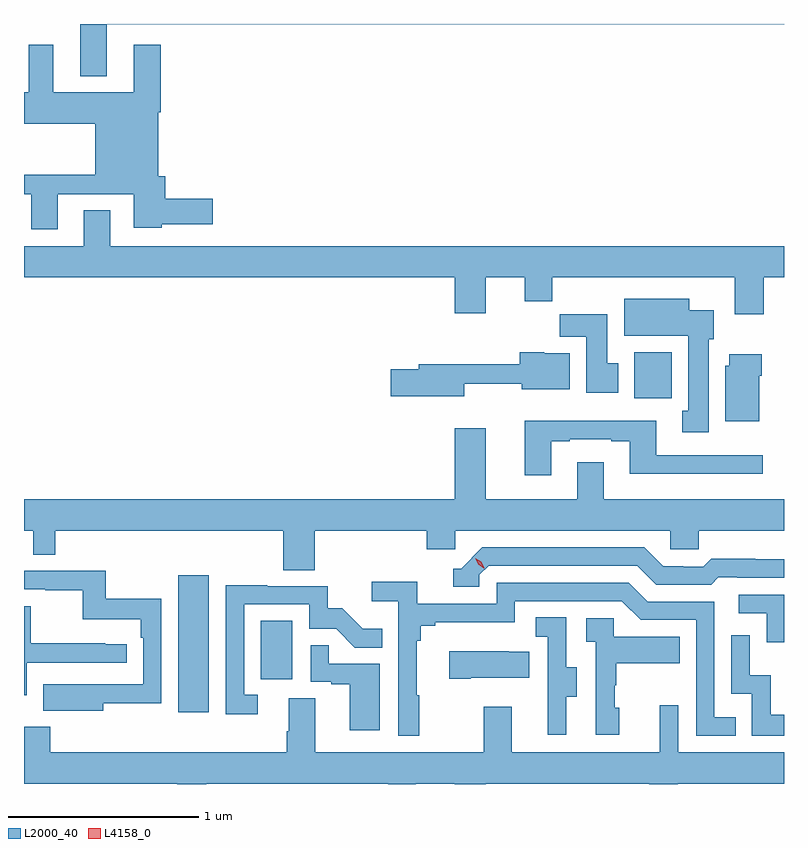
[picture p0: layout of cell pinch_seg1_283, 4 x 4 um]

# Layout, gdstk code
import gdstk
lib = gdstk.Library(unit=1e-6, precision=1e-09)
def R(c, l, rs):  # rectangles x0, y0, x1, y1
    for r in rs: c.add(gdstk.rectangle(r[:2], r[2:], *l))
def P(c, l, *ps):  # polygons
    for p in ps: c.add(gdstk.Polygon(p, *l))
L2000_40 = (2000, 40)
L4158_0 = (4158, 0)

pinch_seg1_283 = lib.new_cell('pinch_seg1_283')
R(pinch_seg1_283, L2000_40, [(906.809,548.112,906.97,548.833), (907.244,548.286,907.408,548.593), (909.209,549.764,909.406,550.006)])
P(pinch_seg1_283, L2000_40, [(906.433,551.732),(909.997,551.732),(909.997,551.734),(905.997,551.734),(905.997,551.732),(906.293,551.732),(906.293,551.459),(906.433,551.459)],
  [(906.175,550.839),(906.575,550.839),(906.575,550.661),(906.723,550.661),(906.723,550.679),(906.991,550.679),(906.991,550.814),(906.74,550.814),(906.74,550.932),(906.703,550.932),(906.703,551.27),(906.716,551.27),(906.716,551.626),(906.575,551.626),(906.575,551.374),(906.151,551.374),(906.151,551.626),(906.023,551.626),(906.023,551.374),(905.997,551.374),(905.997,551.21),(906.371,551.21),(906.371,550.94),(905.997,550.94),(905.997,550.839),(906.035,550.839),(906.035,550.653),(906.175,550.653)],
  [(909.89,550.4),(909.997,550.4),(909.997,550.564),(906.451,550.564),(906.451,550.754),(906.311,550.754),(906.311,550.564),(905.997,550.564),(905.997,550.4),(908.264,550.4),(908.264,550.212),(908.428,550.212),(908.428,550.4),(908.633,550.4),(908.633,550.276),(908.777,550.276),(908.777,550.4),(909.737,550.4),(909.737,550.206),(909.89,550.206)],
  [(909.601,550.074),(909.628,550.074),(909.628,550.228),(909.499,550.228),(909.499,550.288),(909.155,550.288),(909.155,550.094),(909.494,550.094),(909.494,549.698),(909.461,549.698),(909.461,549.585),(909.601,549.585)],
  [(909.124,549.948),(909.067,549.948),(909.067,550.206),(908.818,550.206),(908.818,550.088),(908.957,550.088),(908.957,549.792),(909.124,549.792)],
  [(908.314,549.841),(908.618,549.841),(908.618,549.812),(908.869,549.812),(908.869,550),(908.736,550),(908.736,550.006),(908.606,550.006),(908.606,549.944),(908.075,549.944),(908.075,549.918),(907.926,549.918),(907.926,549.776),(908.314,549.776)],
  [(909.868,549.884),(909.881,549.884),(909.881,549.997),(909.71,549.997),(909.71,549.936),(909.689,549.936),(909.689,549.644),(909.868,549.644)],
  [(908.773,549.537),(908.869,549.537),(908.869,549.549),(909.089,549.549),(909.089,549.537),(909.185,549.537),(909.185,549.368),(909.886,549.368),(909.886,549.465),(909.325,549.465),(909.325,549.646),(908.633,549.646),(908.633,549.36),(908.773,549.36)],
  [(907.526,549.068),(908.117,549.068),(908.117,548.97),(908.268,548.97),(908.268,549.068),(909.399,549.068),(909.399,548.97),(909.549,548.97),(909.549,549.068),(909.997,549.068),(909.997,549.232),(909.049,549.232),(909.049,549.427),(908.909,549.427),(908.909,549.232),(908.428,549.232),(908.428,549.607),(908.264,549.607),(908.264,549.232),(905.997,549.232),(905.997,549.068),(906.045,549.068),(906.045,548.941),(906.161,548.941),(906.161,549.068),(907.361,549.068),(907.361,548.86),(907.526,548.86)],
  [(908.394,548.835),(908.442,548.883),(909.225,548.883),(909.324,548.784),(909.613,548.784),(909.652,548.823),(909.751,548.823),(909.751,548.82),(909.997,548.82),(909.997,548.917),(909.846,548.917),(909.846,548.92),(909.613,548.92),(909.571,548.877),(909.468,548.877),(909.468,548.88),(909.361,548.88),(909.262,548.979),(908.409,548.979),(908.298,548.868),(908.255,548.868),(908.255,548.772),(908.394,548.772)],
  [(906.415,548.158),(906.72,548.158),(906.72,548.71),(906.427,548.71),(906.427,548.856),(905.997,548.856),(905.997,548.76),(906.109,548.76),(906.109,548.755),(906.306,548.755),(906.306,548.6),(906.611,548.6),(906.611,548.504),(906.624,548.504),(906.624,548.259),(906.311,548.259),(906.311,548.26),(906.097,548.26),(906.097,548.12),(906.415,548.12)],
  [(908.077,548.201),(908.065,548.201),(908.065,548.489),(908.084,548.489),(908.084,548.566),(908.161,548.566),(908.161,548.585),(908.58,548.585),(908.58,548.697),(909.144,548.697),(909.243,548.598),(909.534,548.598),(909.534,547.989),(909.743,547.989),(909.743,548.085),(909.63,548.085),(909.63,548.694),(909.28,548.694),(909.181,548.793),(908.484,548.793),(908.484,548.682),(908.066,548.682),(908.066,548.798),(907.827,548.798),(907.827,548.696),(907.968,548.696),(907.968,547.989),(908.077,547.989)],
  [(907.228,548.205),(907.155,548.205),(907.155,548.679),(907.497,548.679),(907.497,548.55),(907.641,548.55),(907.739,548.452),(907.883,548.452),(907.883,548.551),(907.779,548.551),(907.672,548.658),(907.596,548.658),(907.596,548.775),(907.277,548.775),(907.277,548.78),(907.059,548.78),(907.059,548.1),(907.228,548.1)],
  [(909.997,548.73),(909.759,548.73),(909.759,548.634),(909.906,548.634),(909.906,548.481),(909.997,548.481)],
  [(906.012,548.373),(906.538,548.373),(906.538,548.469),(906.425,548.469),(906.425,548.474),(906.032,548.474),(906.032,548.67),(905.997,548.67),(905.997,548.201),(906.012,548.201)],
  [(908.851,548.194),(908.905,548.194),(908.905,548.349),(908.85,548.349),(908.85,548.612),(908.691,548.612),(908.691,548.509),(908.754,548.509),(908.754,548.205),(908.753,548.205),(908.753,547.992),(908.851,547.992)],
  [(909.13,548.136),(909.105,548.136),(909.105,548.255),(909.115,548.255),(909.115,548.369),(909.449,548.369),(909.449,548.509),(909.102,548.509),(909.102,548.607),(908.955,548.607),(908.955,548.483),(909.006,548.483),(909.006,547.992),(909.13,547.992)],
  [(909.997,548.098),(909.926,548.098),(909.926,548.306),(909.816,548.306),(909.816,548.518),(909.72,548.518),(909.72,548.208),(909.828,548.208),(909.828,547.989),(909.997,547.989)],
  [(907.87,548.367),(907.601,548.367),(907.601,548.465),(907.506,548.465),(907.506,548.271),(907.613,548.271),(907.613,548.259),(907.712,548.259),(907.712,548.016),(907.87,548.016)],
  [(908.347,548.294),(908.657,548.294),(908.657,548.431),(908.549,548.431),(908.549,548.434),(908.235,548.434),(908.235,548.287),(908.347,548.287)],
  [(907.915,547.734),(908.059,547.734),(908.059,547.736),(908.264,547.736),(908.264,547.734),(908.428,547.734),(908.428,547.736),(909.287,547.736),(909.287,547.734),(909.439,547.734),(909.439,547.736),(909.997,547.736),(909.997,547.9),(909.441,547.9),(909.441,548.149),(909.344,548.149),(909.344,547.9),(908.563,547.9),(908.563,548.14),(908.416,548.14),(908.416,547.9),(907.531,547.9),(907.531,548.186),(907.391,548.186),(907.391,548.012),(907.379,548.012),(907.379,547.9),(906.134,547.9),(906.134,548.035),(905.997,548.035),(905.997,547.736),(906.803,547.736),(906.803,547.734),(906.955,547.734),(906.955,547.736),(907.915,547.736)])
P(pinch_seg1_283, L4158_0, [(908.418,548.87),(908.388,548.89),(908.373,548.922),(908.373,548.923),(908.373,548.923),(908.403,548.903),(908.419,548.87),(908.419,548.87)])

lib.write_gds('pinch_seg1_283.gds')
